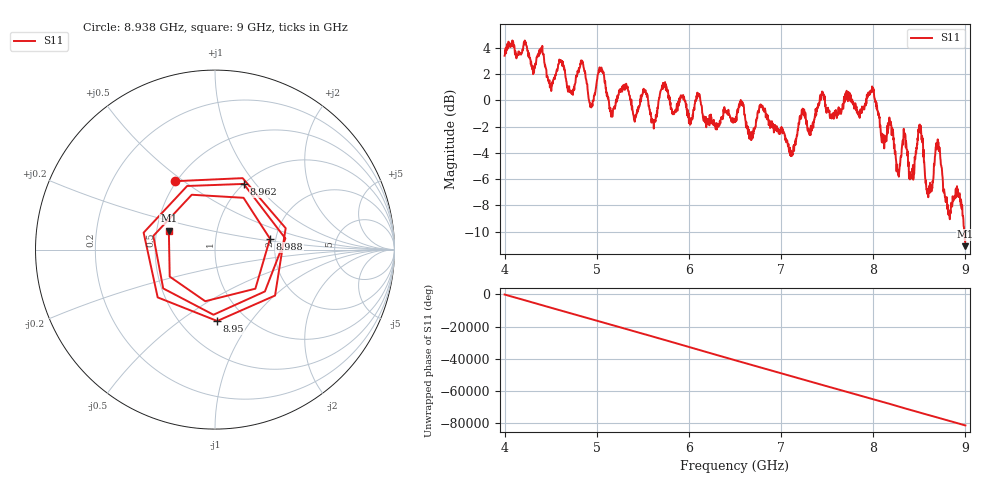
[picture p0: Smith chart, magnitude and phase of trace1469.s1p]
! Created with skrf 1.8.0 (http://scikit-rf.org).
# Hz S RI R 50.0
!freq ReS11 ImS11
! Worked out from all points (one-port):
!   1601 points, 4 GHz to 9 GHz, reference 50 ohm
!   lowest |S11| = -11.1 dB at 9 GHz (marker M1), VSWR 1.77, Z = 29 + j6.65 ohm
!   |S11| at or under -10 dB: 8.987073 GHz to end of sweep
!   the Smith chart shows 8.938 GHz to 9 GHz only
!   S11 on the Smith chart (normalised r, x): 8.938 GHz: 0.49, +0.46; 8.95 GHz: 0.74, -0.70; 8.962 GHz: 1.00, +0.87; 8.988 GHz: 1.86, +0.25; 9 GHz: 0.58, +0.13
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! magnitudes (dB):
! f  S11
! 4 GHz  3.4
! 4.625 GHz  3.0
! 4.719 GHz  0.7
! 4.847 GHz  3.0
! 4.938 GHz  -0.4
! 5.041 GHz  2.4
! 5.159 GHz  -1.0
! 5.25 GHz  0.6
! 5.875 GHz  -0.8
! 6.5 GHz  -1.6
! 6.678 GHz  -3.0
! 6.788 GHz  -0.4
! 7.125 GHz  -4.2
! 7.228 GHz  -1.0
! 7.75 GHz  0.0
! 7.988 GHz  1.1
! 8.269 GHz  -5.7
! 8.375 GHz  -3.9
! 8.422 GHz  -5.9
! 8.512 GHz  -2.5
! 8.588 GHz  -7.1
! 8.7 GHz  -3.0
! 8.812 GHz  -8.6
! 8.938 GHz  -7.1
! 8.95 GHz  -8.0
! 8.962 GHz  -8.0
! 8.988 GHz  -10.1
! 9 GHz  -11.1
